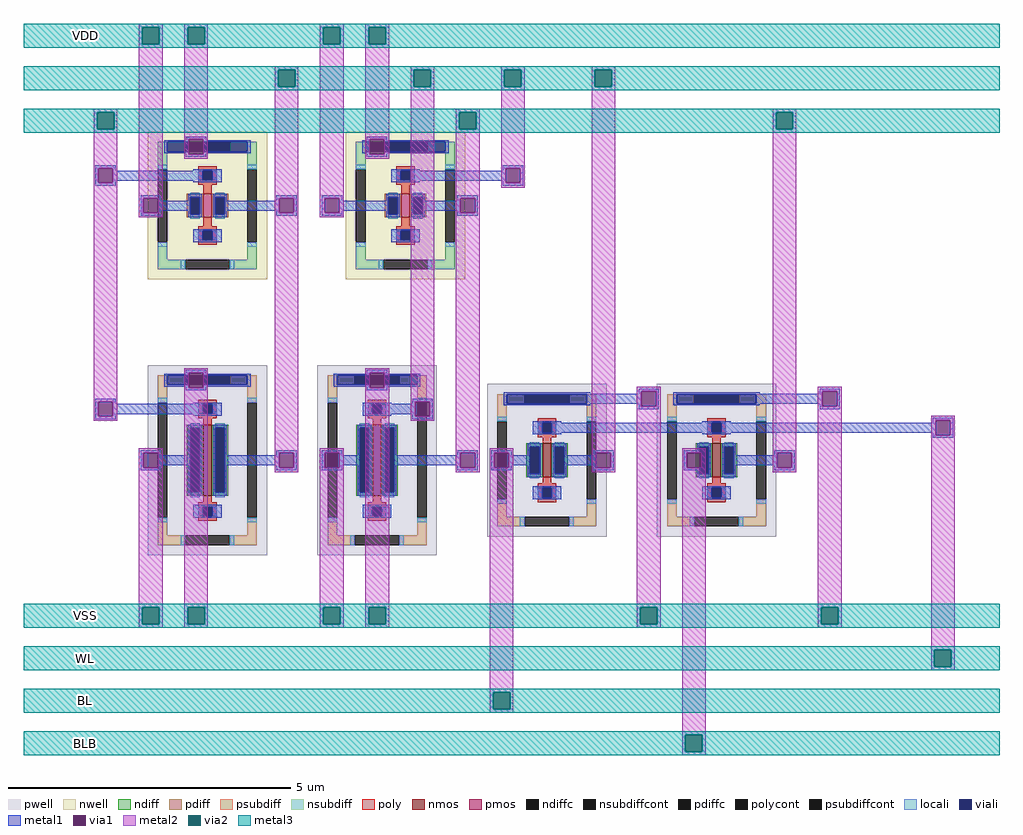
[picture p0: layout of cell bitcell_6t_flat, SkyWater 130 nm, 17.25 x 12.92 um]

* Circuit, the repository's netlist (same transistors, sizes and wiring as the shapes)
* NGSPICE file created from bitcell_6t_flat.ext - technology: sky130A

.subckt bitcell_6t_flat VDD BL BLB VSS WL
X0 a_167_n2114# a_215_n2026# VDD VDD sky130_fd_pr__pfet_01v8 ad=0.1218 pd=1.42 as=0.1218 ps=1.42 w=0.42 l=0.15
X1 a_215_n2026# WL BL VSS sky130_fd_pr__nfet_01v8 ad=0.174 pd=1.78 as=0.174 ps=1.78 w=0.6 l=0.15
X2 a_167_n2114# a_215_n2026# VSS VSS sky130_fd_pr__nfet_01v8 ad=0.3654 pd=3.1 as=0.3654 ps=3.1 w=1.26 l=0.15
X3 a_215_n2026# a_167_n2114# VDD VDD sky130_fd_pr__pfet_01v8 ad=0.1218 pd=1.42 as=0.1218 ps=1.42 w=0.42 l=0.15
X4 a_167_n2114# WL BLB VSS sky130_fd_pr__nfet_01v8 ad=0.174 pd=1.78 as=0.174 ps=1.78 w=0.6 l=0.15
X5 a_215_n2026# a_167_n2114# VSS VSS sky130_fd_pr__nfet_01v8 ad=0.3654 pd=3.1 as=0.3654 ps=3.1 w=1.26 l=0.15
.ends

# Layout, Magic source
magic
tech sky130A
magscale 1 2
<< nwell >>
rect -11 -1261 411 -739
rect 689 -1261 1111 -739
<< pwell >>
rect -11 -2236 411 -1564
rect 589 -2236 1011 -1564
rect 1189 -2170 1611 -1630
rect 1789 -2170 2211 -1630
<< nmos >>
rect 185 -2026 215 -1774
rect 785 -2026 815 -1774
rect 1385 -1960 1415 -1840
rect 1985 -1960 2015 -1840
<< pmos >>
rect 185 -1042 215 -958
rect 885 -1042 915 -958
<< ndiff >>
rect 127 -1786 185 -1774
rect 127 -2014 139 -1786
rect 173 -2014 185 -1786
rect 127 -2026 185 -2014
rect 215 -1786 273 -1774
rect 215 -2014 227 -1786
rect 261 -2014 273 -1786
rect 215 -2026 273 -2014
rect 727 -1786 785 -1774
rect 727 -2014 739 -1786
rect 773 -2014 785 -1786
rect 727 -2026 785 -2014
rect 815 -1786 873 -1774
rect 815 -2014 827 -1786
rect 861 -2014 873 -1786
rect 815 -2026 873 -2014
rect 1327 -1852 1385 -1840
rect 1327 -1948 1339 -1852
rect 1373 -1948 1385 -1852
rect 1327 -1960 1385 -1948
rect 1415 -1852 1473 -1840
rect 1415 -1948 1427 -1852
rect 1461 -1948 1473 -1852
rect 1415 -1960 1473 -1948
rect 1927 -1852 1985 -1840
rect 1927 -1948 1939 -1852
rect 1973 -1948 1985 -1852
rect 1927 -1960 1985 -1948
rect 2015 -1852 2073 -1840
rect 2015 -1948 2027 -1852
rect 2061 -1948 2073 -1852
rect 2015 -1960 2073 -1948
<< pdiff >>
rect 127 -970 185 -958
rect 127 -1030 139 -970
rect 173 -1030 185 -970
rect 127 -1042 185 -1030
rect 215 -970 273 -958
rect 215 -1030 227 -970
rect 261 -1030 273 -970
rect 215 -1042 273 -1030
rect 827 -970 885 -958
rect 827 -1030 839 -970
rect 873 -1030 885 -970
rect 827 -1042 885 -1030
rect 915 -970 973 -958
rect 915 -1030 927 -970
rect 961 -1030 973 -970
rect 915 -1042 973 -1030
<< ndiffc >>
rect 139 -2014 173 -1786
rect 227 -2014 261 -1786
rect 739 -2014 773 -1786
rect 827 -2014 861 -1786
rect 1339 -1948 1373 -1852
rect 1427 -1948 1461 -1852
rect 1939 -1948 1973 -1852
rect 2027 -1948 2061 -1852
<< pdiffc >>
rect 139 -1030 173 -970
rect 227 -1030 261 -970
rect 839 -1030 873 -970
rect 927 -1030 961 -970
<< psubdiff >>
rect 25 -1634 121 -1600
rect 279 -1634 375 -1600
rect 25 -1696 59 -1634
rect 341 -1696 375 -1634
rect 25 -2166 59 -2104
rect 341 -2166 375 -2104
rect 25 -2200 121 -2166
rect 279 -2200 375 -2166
rect 625 -1634 721 -1600
rect 879 -1634 975 -1600
rect 625 -1696 659 -1634
rect 941 -1696 975 -1634
rect 625 -2166 659 -2104
rect 941 -2166 975 -2104
rect 1225 -1700 1321 -1666
rect 1479 -1700 1575 -1666
rect 1225 -1762 1259 -1700
rect 1541 -1762 1575 -1700
rect 1225 -2100 1259 -2038
rect 1541 -2100 1575 -2038
rect 1225 -2134 1321 -2100
rect 1479 -2134 1575 -2100
rect 1825 -1700 1921 -1666
rect 2079 -1700 2175 -1666
rect 1825 -1762 1859 -1700
rect 2141 -1762 2175 -1700
rect 1825 -2100 1859 -2038
rect 2141 -2100 2175 -2038
rect 1825 -2134 1921 -2100
rect 2079 -2134 2175 -2100
rect 625 -2200 721 -2166
rect 879 -2200 975 -2166
<< nsubdiff >>
rect 25 -809 121 -775
rect 279 -809 375 -775
rect 25 -871 59 -809
rect 341 -871 375 -809
rect 25 -1191 59 -1129
rect 341 -1191 375 -1129
rect 25 -1225 121 -1191
rect 279 -1225 375 -1191
rect 725 -809 821 -775
rect 979 -809 1075 -775
rect 725 -871 759 -809
rect 1041 -871 1075 -809
rect 725 -1191 759 -1129
rect 1041 -1191 1075 -1129
rect 725 -1225 821 -1191
rect 979 -1225 1075 -1191
<< psubdiffcont >>
rect 121 -1634 279 -1600
rect 25 -2104 59 -1696
rect 341 -2104 375 -1696
rect 121 -2200 279 -2166
rect 721 -1634 879 -1600
rect 625 -2104 659 -1696
rect 941 -2104 975 -1696
rect 1321 -1700 1479 -1666
rect 1225 -2038 1259 -1762
rect 1541 -2038 1575 -1762
rect 1321 -2134 1479 -2100
rect 1921 -1700 2079 -1666
rect 1825 -2038 1859 -1762
rect 2141 -2038 2175 -1762
rect 1921 -2134 2079 -2100
rect 721 -2200 879 -2166
<< nsubdiffcont >>
rect 121 -809 279 -775
rect 25 -1129 59 -871
rect 341 -1129 375 -871
rect 121 -1225 279 -1191
rect 821 -809 979 -775
rect 725 -1129 759 -871
rect 1041 -1129 1075 -871
rect 821 -1225 979 -1191
<< poly >>
rect 167 -877 233 -861
rect 167 -911 183 -877
rect 217 -911 233 -877
rect 167 -927 233 -911
rect 185 -958 215 -927
rect 185 -1073 215 -1042
rect 167 -1089 233 -1073
rect 167 -1123 183 -1089
rect 217 -1123 233 -1089
rect 167 -1139 233 -1123
rect 867 -877 933 -861
rect 867 -911 883 -877
rect 917 -911 933 -877
rect 867 -927 933 -911
rect 885 -958 915 -927
rect 885 -1073 915 -1042
rect 867 -1089 933 -1073
rect 867 -1123 883 -1089
rect 917 -1123 933 -1089
rect 867 -1139 933 -1123
rect 167 -1702 233 -1686
rect 167 -1736 183 -1702
rect 217 -1736 233 -1702
rect 167 -1752 233 -1736
rect 185 -1774 215 -1752
rect 185 -2048 215 -2026
rect 167 -2064 233 -2048
rect 167 -2098 183 -2064
rect 217 -2098 233 -2064
rect 167 -2114 233 -2098
rect 767 -1702 833 -1686
rect 767 -1736 783 -1702
rect 817 -1736 833 -1702
rect 767 -1752 833 -1736
rect 785 -1774 815 -1752
rect 785 -2048 815 -2026
rect 767 -2064 833 -2048
rect 767 -2098 783 -2064
rect 817 -2098 833 -2064
rect 767 -2114 833 -2098
rect 1367 -1768 1433 -1752
rect 1367 -1802 1383 -1768
rect 1417 -1802 1433 -1768
rect 1367 -1818 1433 -1802
rect 1385 -1840 1415 -1818
rect 1385 -1982 1415 -1960
rect 1367 -1998 1433 -1982
rect 1367 -2032 1383 -1998
rect 1417 -2032 1433 -1998
rect 1367 -2048 1433 -2032
rect 1967 -1768 2033 -1752
rect 1967 -1802 1983 -1768
rect 2017 -1802 2033 -1768
rect 1967 -1818 2033 -1802
rect 1985 -1840 2015 -1818
rect 1985 -1982 2015 -1960
rect 1967 -1998 2033 -1982
rect 1967 -2032 1983 -1998
rect 2017 -2032 2033 -1998
rect 1967 -2048 2033 -2032
<< polycont >>
rect 183 -911 217 -877
rect 183 -1123 217 -1089
rect 883 -911 917 -877
rect 883 -1123 917 -1089
rect 183 -1736 217 -1702
rect 183 -2098 217 -2064
rect 783 -1736 817 -1702
rect 783 -2098 817 -2064
rect 1383 -1802 1417 -1768
rect 1383 -2032 1417 -1998
rect 1983 -1802 2017 -1768
rect 1983 -2032 2017 -1998
<< locali >>
rect 25 -871 59 -855
rect 341 -871 375 -855
rect 167 -911 183 -877
rect 217 -911 233 -877
rect 139 -970 173 -954
rect 139 -1046 173 -1030
rect 227 -970 261 -954
rect 227 -1046 261 -1030
rect 167 -1123 183 -1089
rect 217 -1123 233 -1089
rect 25 -1145 59 -1129
rect 341 -1145 375 -1129
rect 725 -871 759 -855
rect 1041 -871 1075 -855
rect 867 -911 883 -877
rect 917 -911 933 -877
rect 839 -970 873 -954
rect 839 -1046 873 -1030
rect 927 -970 961 -954
rect 927 -1046 961 -1030
rect 867 -1123 883 -1089
rect 917 -1123 933 -1089
rect 725 -1145 759 -1129
rect 1041 -1145 1075 -1129
rect 105 -1225 121 -1191
rect 279 -1225 295 -1191
rect 805 -1225 821 -1191
rect 979 -1225 995 -1191
rect 25 -1696 59 -1680
rect 341 -1696 375 -1680
rect 167 -1736 183 -1702
rect 217 -1736 233 -1702
rect 139 -1786 173 -1770
rect 139 -2030 173 -2014
rect 227 -1786 261 -1770
rect 227 -2030 261 -2014
rect 167 -2098 183 -2064
rect 217 -2098 233 -2064
rect 25 -2120 59 -2104
rect 341 -2120 375 -2104
rect 625 -1696 659 -1680
rect 941 -1696 975 -1680
rect 767 -1736 783 -1702
rect 817 -1736 833 -1702
rect 739 -1786 773 -1770
rect 739 -2030 773 -2014
rect 827 -1786 861 -1770
rect 827 -2030 861 -2014
rect 767 -2098 783 -2064
rect 817 -2098 833 -2064
rect 625 -2120 659 -2104
rect 1225 -1762 1259 -1746
rect 1541 -1762 1575 -1746
rect 1367 -1802 1383 -1768
rect 1417 -1802 1433 -1768
rect 1339 -1852 1373 -1836
rect 1339 -1964 1373 -1948
rect 1427 -1852 1461 -1836
rect 1427 -1964 1461 -1948
rect 1367 -2032 1383 -1998
rect 1417 -2032 1433 -1998
rect 1225 -2054 1259 -2038
rect 1541 -2054 1575 -2038
rect 1825 -1762 1859 -1746
rect 2141 -1762 2175 -1746
rect 1967 -1802 1983 -1768
rect 2017 -1802 2033 -1768
rect 1939 -1852 1973 -1836
rect 1939 -1964 1973 -1948
rect 2027 -1852 2061 -1836
rect 2027 -1964 2061 -1948
rect 1967 -2032 1983 -1998
rect 2017 -2032 2033 -1998
rect 1825 -2054 1859 -2038
rect 2141 -2054 2175 -2038
rect 941 -2120 975 -2104
rect 1305 -2134 1321 -2100
rect 1479 -2134 1495 -2100
rect 1905 -2134 1921 -2100
rect 2079 -2134 2095 -2100
rect 105 -2200 121 -2166
rect 279 -2200 295 -2166
rect 705 -2200 721 -2166
rect 879 -2200 895 -2166
<< viali >>
rect 59 -809 121 -775
rect 121 -809 279 -775
rect 279 -809 341 -775
rect 759 -809 821 -775
rect 821 -809 979 -775
rect 979 -809 1041 -775
rect 183 -911 217 -877
rect 139 -1030 173 -970
rect 227 -1030 261 -970
rect 183 -1123 217 -1089
rect 883 -911 917 -877
rect 839 -1030 873 -970
rect 927 -1030 961 -970
rect 883 -1123 917 -1089
rect 59 -1634 121 -1600
rect 121 -1634 279 -1600
rect 279 -1634 341 -1600
rect 659 -1634 721 -1600
rect 721 -1634 879 -1600
rect 879 -1634 941 -1600
rect 183 -1736 217 -1702
rect 139 -2014 173 -1786
rect 227 -2014 261 -1786
rect 183 -2098 217 -2064
rect 783 -1736 817 -1702
rect 739 -2014 773 -1786
rect 827 -2014 861 -1786
rect 783 -2098 817 -2064
rect 1259 -1700 1321 -1666
rect 1321 -1700 1479 -1666
rect 1479 -1700 1541 -1666
rect 1859 -1700 1921 -1666
rect 1921 -1700 2079 -1666
rect 2079 -1700 2141 -1666
rect 1383 -1802 1417 -1768
rect 1339 -1948 1373 -1852
rect 1427 -1948 1461 -1852
rect 1383 -2032 1417 -1998
rect 1983 -1802 2017 -1768
rect 1939 -1948 1973 -1852
rect 2027 -1948 2061 -1852
rect 1983 -2032 2017 -1998
<< metal1 >>
rect 124 -766 196 -756
rect 124 -769 134 -766
rect 47 -775 134 -769
rect 186 -769 196 -766
rect 764 -766 836 -756
rect 764 -769 774 -766
rect 186 -775 353 -769
rect 47 -809 59 -775
rect 341 -809 353 -775
rect 47 -815 134 -809
rect 124 -818 134 -815
rect 186 -815 353 -809
rect 747 -775 774 -769
rect 826 -769 836 -766
rect 826 -775 1053 -769
rect 747 -809 759 -775
rect 1041 -809 1053 -775
rect 747 -815 774 -809
rect 186 -818 196 -815
rect 124 -828 196 -818
rect 764 -818 774 -815
rect 826 -815 1053 -809
rect 826 -818 836 -815
rect 764 -828 836 -818
rect -196 -868 -124 -858
rect -196 -920 -186 -868
rect -134 -876 -124 -868
rect 1244 -868 1316 -858
rect 150 -876 250 -871
rect -134 -877 250 -876
rect -134 -911 183 -877
rect 217 -911 250 -877
rect -134 -912 250 -911
rect -134 -920 -124 -912
rect 150 -917 250 -912
rect 850 -876 950 -871
rect 1244 -876 1254 -868
rect 850 -877 1254 -876
rect 850 -911 883 -877
rect 917 -911 1254 -877
rect 850 -912 1254 -911
rect 850 -917 950 -912
rect -196 -930 -124 -920
rect 1244 -920 1254 -912
rect 1306 -920 1316 -868
rect 1244 -930 1316 -920
rect -36 -974 36 -964
rect -36 -1026 -26 -974
rect 26 -982 36 -974
rect 132 -970 180 -958
rect 132 -982 139 -970
rect 26 -1018 139 -982
rect 26 -1026 36 -1018
rect -36 -1036 36 -1026
rect 132 -1030 139 -1018
rect 173 -1030 180 -970
rect 132 -1042 180 -1030
rect 220 -970 268 -958
rect 220 -1030 227 -970
rect 261 -982 268 -970
rect 444 -974 516 -964
rect 444 -982 454 -974
rect 261 -1018 454 -982
rect 261 -1030 268 -1018
rect 220 -1042 268 -1030
rect 444 -1026 454 -1018
rect 506 -1026 516 -974
rect 444 -1036 516 -1026
rect 604 -974 676 -964
rect 604 -1026 614 -974
rect 666 -982 676 -974
rect 832 -970 880 -958
rect 832 -982 839 -970
rect 666 -1018 839 -982
rect 666 -1026 676 -1018
rect 604 -1036 676 -1026
rect 832 -1030 839 -1018
rect 873 -1030 880 -970
rect 832 -1042 880 -1030
rect 920 -970 968 -958
rect 920 -1030 927 -970
rect 961 -982 968 -970
rect 1084 -974 1156 -964
rect 1084 -982 1094 -974
rect 961 -1018 1094 -982
rect 961 -1030 968 -1018
rect 920 -1042 968 -1030
rect 1084 -1026 1094 -1018
rect 1146 -1026 1156 -974
rect 1084 -1036 1156 -1026
rect 150 -1089 250 -1083
rect 150 -1123 183 -1089
rect 217 -1123 250 -1089
rect 150 -1129 250 -1123
rect 850 -1089 950 -1083
rect 850 -1123 883 -1089
rect 917 -1123 950 -1089
rect 850 -1129 950 -1123
rect 124 -1591 196 -1581
rect 124 -1594 134 -1591
rect 47 -1600 134 -1594
rect 186 -1594 196 -1591
rect 764 -1591 836 -1581
rect 764 -1594 774 -1591
rect 186 -1600 353 -1594
rect 47 -1634 59 -1600
rect 341 -1634 353 -1600
rect 47 -1640 134 -1634
rect 124 -1643 134 -1640
rect 186 -1640 353 -1634
rect 647 -1600 774 -1594
rect 826 -1594 836 -1591
rect 826 -1600 953 -1594
rect 647 -1634 659 -1600
rect 941 -1634 953 -1600
rect 647 -1640 774 -1634
rect 186 -1643 196 -1640
rect 124 -1653 196 -1643
rect 764 -1643 774 -1640
rect 826 -1640 953 -1634
rect 826 -1643 836 -1640
rect 764 -1653 836 -1643
rect 1724 -1657 1796 -1647
rect 1247 -1665 1553 -1660
rect 1724 -1665 1734 -1657
rect 1247 -1666 1734 -1665
rect -196 -1693 -124 -1683
rect -196 -1745 -186 -1693
rect -134 -1701 -124 -1693
rect 924 -1693 996 -1683
rect 150 -1701 250 -1696
rect -134 -1702 250 -1701
rect -134 -1736 183 -1702
rect 217 -1736 250 -1702
rect -134 -1737 250 -1736
rect -134 -1745 -124 -1737
rect 150 -1742 250 -1737
rect 750 -1701 850 -1696
rect 924 -1701 934 -1693
rect 750 -1702 934 -1701
rect 750 -1736 783 -1702
rect 817 -1736 934 -1702
rect 750 -1737 934 -1736
rect 750 -1742 850 -1737
rect -196 -1755 -124 -1745
rect 924 -1745 934 -1737
rect 986 -1745 996 -1693
rect 1247 -1700 1259 -1666
rect 1541 -1700 1734 -1666
rect 1247 -1701 1734 -1700
rect 1247 -1706 1553 -1701
rect 1724 -1709 1734 -1701
rect 1786 -1709 1796 -1657
rect 2364 -1657 2436 -1647
rect 1847 -1665 2153 -1660
rect 2364 -1665 2374 -1657
rect 1847 -1666 2374 -1665
rect 1847 -1700 1859 -1666
rect 2141 -1700 2374 -1666
rect 1847 -1701 2374 -1700
rect 1847 -1706 2153 -1701
rect 1724 -1719 1796 -1709
rect 2364 -1709 2374 -1701
rect 2426 -1709 2436 -1657
rect 2364 -1719 2436 -1709
rect 924 -1755 996 -1745
rect 2764 -1759 2836 -1749
rect 1350 -1767 1450 -1762
rect 1950 -1767 2050 -1762
rect 2764 -1767 2774 -1759
rect 1350 -1768 2774 -1767
rect 132 -1786 180 -1774
rect -36 -1874 36 -1864
rect -36 -1926 -26 -1874
rect 26 -1882 36 -1874
rect 132 -1882 139 -1786
rect 26 -1918 139 -1882
rect 26 -1926 36 -1918
rect -36 -1936 36 -1926
rect 132 -2014 139 -1918
rect 173 -2014 180 -1786
rect 132 -2026 180 -2014
rect 220 -1786 268 -1774
rect 220 -2014 227 -1786
rect 261 -1882 268 -1786
rect 732 -1786 780 -1774
rect 444 -1874 516 -1864
rect 444 -1882 454 -1874
rect 261 -1918 454 -1882
rect 261 -2014 268 -1918
rect 444 -1926 454 -1918
rect 506 -1926 516 -1874
rect 444 -1936 516 -1926
rect 604 -1874 676 -1864
rect 604 -1926 614 -1874
rect 666 -1882 676 -1874
rect 732 -1882 739 -1786
rect 666 -1918 739 -1882
rect 666 -1926 676 -1918
rect 604 -1936 676 -1926
rect 220 -2026 268 -2014
rect 732 -2014 739 -1918
rect 773 -2014 780 -1786
rect 732 -2026 780 -2014
rect 820 -1786 868 -1774
rect 820 -2014 827 -1786
rect 861 -1882 868 -1786
rect 1350 -1802 1383 -1768
rect 1417 -1802 1983 -1768
rect 2017 -1802 2774 -1768
rect 1350 -1803 2774 -1802
rect 1350 -1808 1450 -1803
rect 1950 -1808 2050 -1803
rect 2764 -1811 2774 -1803
rect 2826 -1811 2836 -1759
rect 2764 -1821 2836 -1811
rect 1333 -1852 1379 -1840
rect 1084 -1874 1156 -1864
rect 1084 -1882 1094 -1874
rect 861 -1918 1094 -1882
rect 861 -2014 868 -1918
rect 1084 -1926 1094 -1918
rect 1146 -1926 1156 -1874
rect 1084 -1936 1156 -1926
rect 1204 -1874 1276 -1864
rect 1204 -1926 1214 -1874
rect 1266 -1882 1276 -1874
rect 1333 -1882 1339 -1852
rect 1266 -1918 1339 -1882
rect 1266 -1926 1276 -1918
rect 1204 -1936 1276 -1926
rect 1333 -1948 1339 -1918
rect 1373 -1948 1379 -1852
rect 1333 -1960 1379 -1948
rect 1420 -1852 1468 -1840
rect 1420 -1948 1427 -1852
rect 1461 -1882 1468 -1852
rect 1932 -1852 1980 -1840
rect 1932 -1864 1939 -1852
rect 1564 -1874 1636 -1864
rect 1564 -1882 1574 -1874
rect 1461 -1918 1574 -1882
rect 1461 -1948 1468 -1918
rect 1564 -1926 1574 -1918
rect 1626 -1926 1636 -1874
rect 1564 -1936 1636 -1926
rect 1884 -1874 1939 -1864
rect 1884 -1926 1894 -1874
rect 1884 -1936 1939 -1926
rect 1420 -1960 1468 -1948
rect 1932 -1948 1939 -1936
rect 1973 -1948 1980 -1852
rect 1932 -1960 1980 -1948
rect 2020 -1852 2068 -1840
rect 2020 -1948 2027 -1852
rect 2061 -1882 2068 -1852
rect 2204 -1874 2276 -1864
rect 2204 -1882 2214 -1874
rect 2061 -1918 2214 -1882
rect 2061 -1948 2068 -1918
rect 2204 -1926 2214 -1918
rect 2266 -1926 2276 -1874
rect 2204 -1936 2276 -1926
rect 2020 -1960 2068 -1948
rect 820 -2026 868 -2014
rect 1350 -1998 1450 -1992
rect 1350 -2032 1383 -1998
rect 1417 -2032 1450 -1998
rect 1350 -2038 1450 -2032
rect 1950 -1998 2050 -1992
rect 1950 -2032 1983 -1998
rect 2017 -2032 2050 -1998
rect 1950 -2038 2050 -2032
rect 150 -2064 250 -2058
rect 150 -2098 183 -2064
rect 217 -2098 250 -2064
rect 150 -2104 250 -2098
rect 750 -2064 850 -2058
rect 750 -2098 783 -2064
rect 817 -2098 850 -2064
rect 750 -2104 850 -2098
<< via1 >>
rect 134 -775 186 -766
rect 134 -809 186 -775
rect 134 -818 186 -809
rect 774 -775 826 -766
rect 774 -809 826 -775
rect 774 -818 826 -809
rect -186 -920 -134 -868
rect 1254 -920 1306 -868
rect -26 -1026 26 -974
rect 454 -1026 506 -974
rect 614 -1026 666 -974
rect 1094 -1026 1146 -974
rect 134 -1600 186 -1591
rect 134 -1634 186 -1600
rect 134 -1643 186 -1634
rect 774 -1600 826 -1591
rect 774 -1634 826 -1600
rect 774 -1643 826 -1634
rect -186 -1745 -134 -1693
rect 934 -1745 986 -1693
rect 1734 -1709 1786 -1657
rect 2374 -1709 2426 -1657
rect -26 -1926 26 -1874
rect 454 -1926 506 -1874
rect 614 -1926 666 -1874
rect 2774 -1811 2826 -1759
rect 1094 -1926 1146 -1874
rect 1214 -1926 1266 -1874
rect 1574 -1926 1626 -1874
rect 1894 -1926 1939 -1874
rect 1939 -1926 1946 -1874
rect 2214 -1926 2266 -1874
<< metal2 >>
rect -42 -370 42 -358
rect -42 -430 -30 -370
rect 30 -430 42 -370
rect -202 -670 -118 -658
rect -202 -730 -190 -670
rect -130 -730 -118 -670
rect -202 -868 -118 -730
rect -202 -920 -186 -868
rect -134 -920 -118 -868
rect -202 -1693 -118 -920
rect -42 -974 42 -430
rect 118 -370 202 -358
rect 118 -430 130 -370
rect 190 -430 202 -370
rect 118 -766 202 -430
rect 598 -370 682 -358
rect 598 -430 610 -370
rect 670 -430 682 -370
rect 118 -818 134 -766
rect 186 -818 202 -766
rect 118 -834 202 -818
rect 438 -520 522 -508
rect 438 -580 450 -520
rect 510 -580 522 -520
rect -42 -1026 -26 -974
rect 26 -1026 42 -974
rect -42 -1042 42 -1026
rect 438 -974 522 -580
rect 438 -1026 454 -974
rect 506 -1026 522 -974
rect -202 -1745 -186 -1693
rect -134 -1745 -118 -1693
rect -202 -1761 -118 -1745
rect 118 -1591 202 -1575
rect 118 -1643 134 -1591
rect 186 -1643 202 -1591
rect -42 -1874 42 -1858
rect -42 -1926 -26 -1874
rect 26 -1926 42 -1874
rect -42 -2420 42 -1926
rect -42 -2480 -30 -2420
rect 30 -2480 42 -2420
rect -42 -2492 42 -2480
rect 118 -2420 202 -1643
rect 438 -1874 522 -1026
rect 598 -974 682 -430
rect 758 -370 842 -358
rect 758 -430 770 -370
rect 830 -430 842 -370
rect 758 -766 842 -430
rect 758 -818 774 -766
rect 826 -818 842 -766
rect 758 -834 842 -818
rect 918 -520 1002 -508
rect 918 -580 930 -520
rect 990 -580 1002 -520
rect 598 -1026 614 -974
rect 666 -1026 682 -974
rect 598 -1042 682 -1026
rect 758 -1591 842 -1575
rect 758 -1643 774 -1591
rect 826 -1643 842 -1591
rect 438 -1926 454 -1874
rect 506 -1926 522 -1874
rect 438 -1942 522 -1926
rect 598 -1874 682 -1858
rect 598 -1926 614 -1874
rect 666 -1926 682 -1874
rect 118 -2480 130 -2420
rect 190 -2480 202 -2420
rect 118 -2492 202 -2480
rect 598 -2420 682 -1926
rect 598 -2480 610 -2420
rect 670 -2480 682 -2420
rect 598 -2492 682 -2480
rect 758 -2420 842 -1643
rect 918 -1693 1002 -580
rect 1238 -520 1322 -508
rect 1238 -580 1250 -520
rect 1310 -580 1322 -520
rect 918 -1745 934 -1693
rect 986 -1745 1002 -1693
rect 918 -1761 1002 -1745
rect 1078 -670 1162 -658
rect 1078 -730 1090 -670
rect 1150 -730 1162 -670
rect 1078 -974 1162 -730
rect 1238 -868 1322 -580
rect 1238 -920 1254 -868
rect 1306 -920 1322 -868
rect 1238 -936 1322 -920
rect 1558 -520 1642 -508
rect 1558 -580 1570 -520
rect 1630 -580 1642 -520
rect 1078 -1026 1094 -974
rect 1146 -1026 1162 -974
rect 1078 -1874 1162 -1026
rect 1078 -1926 1094 -1874
rect 1146 -1926 1162 -1874
rect 1078 -1942 1162 -1926
rect 1198 -1874 1282 -1858
rect 1198 -1926 1214 -1874
rect 1266 -1926 1282 -1874
rect 758 -2480 770 -2420
rect 830 -2480 842 -2420
rect 758 -2492 842 -2480
rect 1198 -2720 1282 -1926
rect 1558 -1874 1642 -580
rect 2198 -670 2282 -658
rect 2198 -730 2210 -670
rect 2270 -730 2282 -670
rect 1558 -1926 1574 -1874
rect 1626 -1926 1642 -1874
rect 1558 -1942 1642 -1926
rect 1718 -1657 1802 -1641
rect 1718 -1709 1734 -1657
rect 1786 -1709 1802 -1657
rect 1718 -2420 1802 -1709
rect 1718 -2480 1730 -2420
rect 1790 -2480 1802 -2420
rect 1718 -2492 1802 -2480
rect 1878 -1874 1962 -1858
rect 1878 -1926 1894 -1874
rect 1946 -1926 1962 -1874
rect 1198 -2780 1210 -2720
rect 1270 -2780 1282 -2720
rect 1198 -2792 1282 -2780
rect 1878 -2870 1962 -1926
rect 2198 -1874 2282 -730
rect 2198 -1926 2214 -1874
rect 2266 -1926 2282 -1874
rect 2198 -1942 2282 -1926
rect 2358 -1657 2442 -1641
rect 2358 -1709 2374 -1657
rect 2426 -1709 2442 -1657
rect 2358 -2420 2442 -1709
rect 2358 -2480 2370 -2420
rect 2430 -2480 2442 -2420
rect 2358 -2492 2442 -2480
rect 2758 -1759 2842 -1743
rect 2758 -1811 2774 -1759
rect 2826 -1811 2842 -1759
rect 2758 -2570 2842 -1811
rect 2758 -2630 2770 -2570
rect 2830 -2630 2842 -2570
rect 2758 -2642 2842 -2630
rect 1878 -2930 1890 -2870
rect 1950 -2930 1962 -2870
rect 1878 -2942 1962 -2930
<< via2 >>
rect -30 -430 30 -370
rect -190 -730 -130 -670
rect 130 -430 190 -370
rect 610 -430 670 -370
rect 450 -580 510 -520
rect -30 -2480 30 -2420
rect 770 -430 830 -370
rect 930 -580 990 -520
rect 130 -2480 190 -2420
rect 610 -2480 670 -2420
rect 1250 -580 1310 -520
rect 1090 -730 1150 -670
rect 1570 -580 1630 -520
rect 770 -2480 830 -2420
rect 2210 -730 2270 -670
rect 1730 -2480 1790 -2420
rect 1210 -2780 1270 -2720
rect 2370 -2480 2430 -2420
rect 2770 -2630 2830 -2570
rect 1890 -2930 1950 -2870
<< metal3 >>
rect -450 -370 3000 -358
rect -450 -430 -30 -370
rect 30 -430 130 -370
rect 190 -430 610 -370
rect 670 -430 770 -370
rect 830 -430 3000 -370
rect -450 -442 3000 -430
rect -450 -520 3000 -508
rect -450 -580 450 -520
rect 510 -580 930 -520
rect 990 -580 1250 -520
rect 1310 -580 1570 -520
rect 1630 -580 3000 -520
rect -450 -592 3000 -580
rect -450 -670 3000 -658
rect -450 -730 -190 -670
rect -130 -730 1090 -670
rect 1150 -730 2210 -670
rect 2270 -730 3000 -670
rect -450 -742 3000 -730
rect -450 -2420 3000 -2408
rect -450 -2480 -30 -2420
rect 30 -2480 130 -2420
rect 190 -2480 610 -2420
rect 670 -2480 770 -2420
rect 830 -2480 1730 -2420
rect 1790 -2480 2370 -2420
rect 2430 -2480 3000 -2420
rect -450 -2492 3000 -2480
rect -450 -2570 3000 -2558
rect -450 -2630 2770 -2570
rect 2830 -2630 3000 -2570
rect -450 -2642 3000 -2630
rect -450 -2720 3000 -2708
rect -450 -2780 1210 -2720
rect 1270 -2780 3000 -2720
rect -450 -2792 3000 -2780
rect -450 -2870 3000 -2858
rect -450 -2930 1890 -2870
rect 1950 -2930 3000 -2870
rect -450 -2942 3000 -2930
<< labels >>
rlabel metal3 -255 -425 -205 -375 0 VDD
port 0 n
rlabel metal3 -255 -2775 -205 -2725 0 BL
port 1 n
rlabel metal3 -255 -2925 -205 -2875 0 BLB
port 2 n
rlabel metal3 -255 -2475 -205 -2425 0 VSS
port 3 n
rlabel metal3 -255 -2625 -205 -2575 0 WL
port 4 n
<< end >>
